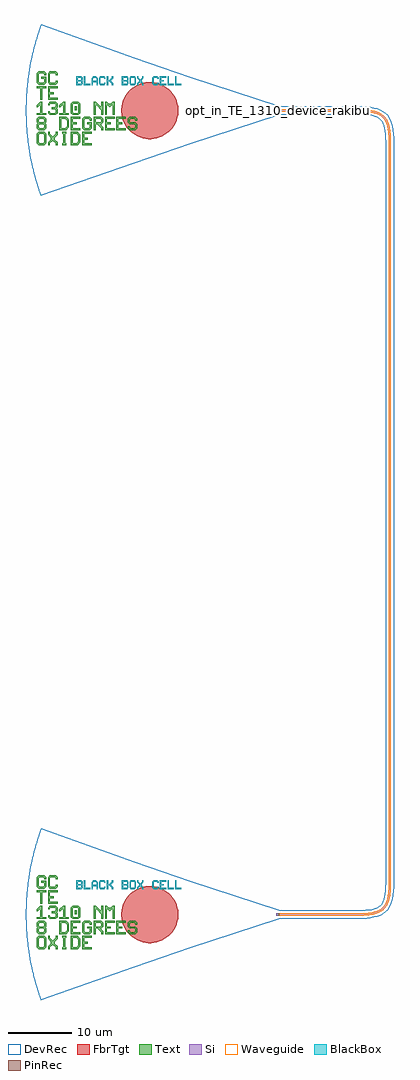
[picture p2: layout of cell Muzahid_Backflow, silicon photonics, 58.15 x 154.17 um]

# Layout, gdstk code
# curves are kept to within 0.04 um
import gdstk
lib = gdstk.Library(unit=1e-6, precision=1e-09)
def R(c, l, rs):  # rectangles x0, y0, x1, y1
    for r in rs: c.add(gdstk.rectangle(r[:2], r[2:], *l))
def P(c, l, *ps):  # polygons
    for p in ps: c.add(gdstk.Polygon(p, *l))
Si = (1, 0)
PinRec = (1, 10)
Waveguide = (1, 99)
Text = (10, 0)
DevRec = (68, 0)
FbrTgt = (81, 0)
BlackBox = (998, 0)

text = lib.new_cell('TEXT')
P(text, BlackBox, [(0,0),(0,1.4),(0.8,1.4),(1,1.2),(0.2,1.2),(0.2,0.8),(0.7,0.8),(0.8,0.9),(0.8,1.1),(0.7,1.2),(1,1.2),(1,0.8),(0.9,0.7),(1,0.6),(0.2,0.6),(0.2,0.2),(0.7,0.2),(0.8,0.3),(0.8,0.5),(0.7,0.6),(1,0.6),(1,0.2),(0.8,0)],
  [(1.2,0),(1.2,1.4),(1.4,1.4),(1.4,0.2),(2.2,0.2),(2.2,0)],
  [(2.4,0),(2.4,1.1),(2.7,1.4),(3.1,1.4),(3.3,1.2),(2.8,1.2),(2.6,1),(2.6,0.7),(3.2,0.7),(3.2,1),(3,1.2),(3.3,1.2),(3.4,1.1),(3.4,0),(3.2,0),(3.2,0.5),(2.6,0.5),(2.6,0)],
  [(3.8,0),(3.6,0.2),(3.6,1.2),(3.8,1.4),(4.4,1.4),(4.6,1.2),(4.6,1),(4.4,1),(4.4,1.1),(4.3,1.2),(3.9,1.2),(3.8,1.1),(3.8,0.3),(3.9,0.2),(4.3,0.2),(4.4,0.3),(4.4,0.4),(4.6,0.4),(4.6,0.2),(4.4,0)],
  [(4.8,0),(4.8,1.4),(5,1.4),(5,0.8),(5.2,0.8),(5.6,1.2),(5.6,1.4),(5.8,1.4),(5.8,1.1),(5.4,0.7),(5.8,0.3),(5.8,0),(5.6,0),(5.6,0.2),(5.2,0.6),(5,0.6),(5,0)],
  [(7.2,0),(7.2,1.4),(8,1.4),(8.2,1.2),(7.4,1.2),(7.4,0.8),(7.9,0.8),(8,0.9),(8,1.1),(7.9,1.2),(8.2,1.2),(8.2,0.8),(8.1,0.7),(8.2,0.6),(7.4,0.6),(7.4,0.2),(7.9,0.2),(8,0.3),(8,0.5),(7.9,0.6),(8.2,0.6),(8.2,0.2),(8,0)],
  [(8.6,0),(8.4,0.2),(8.4,1.2),(8.6,1.4),(9.2,1.4),(9.4,1.2),(9.4,0.7),(9.2,0.7),(9.2,1.1),(9.1,1.2),(8.7,1.2),(8.6,1.1),(8.6,0.3),(8.7,0.2),(9.1,0.2),(9.2,0.3),(9.2,0.7),(9.4,0.7),(9.4,0.2),(9.2,0)],
  [(9.6,0),(9.6,0.3),(9.9,0.6),(9.9,0.8),(9.6,1.1),(9.6,1.4),(9.8,1.4),(9.8,1.2),(10.1,0.9),(10.4,1.2),(10.4,1.4),(10.6,1.4),(10.6,1.1),(10.3,0.8),(10.3,0.6),(10.6,0.3),(10.6,0),(10.4,0),(10.4,0.2),(10.1,0.5),(9.8,0.2),(9.8,0)],
  [(12.2,0),(12,0.2),(12,1.2),(12.2,1.4),(12.8,1.4),(13,1.2),(13,1),(12.8,1),(12.8,1.1),(12.7,1.2),(12.3,1.2),(12.2,1.1),(12.2,0.3),(12.3,0.2),(12.7,0.2),(12.8,0.3),(12.8,0.4),(13,0.4),(13,0.2),(12.8,0)],
  [(13.2,0),(13.2,1.4),(14.2,1.4),(14.2,1.2),(13.4,1.2),(13.4,0.8),(13.8,0.8),(13.8,0.6),(13.4,0.6),(13.4,0.2),(14.2,0.2),(14.2,0)],
  [(14.4,0),(14.4,1.4),(14.6,1.4),(14.6,0.2),(15.4,0.2),(15.4,0)],
  [(15.6,0),(15.6,1.4),(15.8,1.4),(15.8,0.2),(16.6,0.2),(16.6,0)])

gc_te_1310_8degoxide_bb = lib.new_cell('GC_TE_1310_8degOxide_BB')
R(gc_te_1310_8degoxide_bb, Si, [(-0.4,-0.175,0,0.175)])
R(gc_te_1310_8degoxide_bb, Text, [(-32.27,0.06,-31.97,0.66)])
P(gc_te_1310_8degoxide_bb, Text, [(-37.67,1.71),(-37.67,3.51),(-38.27,3.51),(-38.27,3.81),(-36.77,3.81),(-36.77,3.51),(-37.37,3.51),(-37.37,1.71)],
  [(-37.97,-5.49),(-38.27,-5.19),(-38.27,-3.69),(-37.97,-3.39),(-37.07,-3.39),(-36.77,-3.69),(-36.77,-4.44),(-37.07,-4.44),(-37.07,-3.84),(-37.22,-3.69),(-37.82,-3.69),(-37.97,-3.84),(-37.97,-5.04),(-37.82,-5.19),(-37.22,-5.19),(-37.07,-5.04),(-37.07,-4.44),(-36.77,-4.44),(-36.77,-5.19),(-37.07,-5.49)],
  [(-31.07,-5.49),(-31.07,-3.39),(-29.57,-3.39),(-29.57,-3.69),(-30.77,-3.69),(-30.77,-4.29),(-30.17,-4.29),(-30.17,-4.59),(-30.77,-4.59),(-30.77,-5.19),(-29.57,-5.19),(-29.57,-5.49)],
  [(-32.87,-3.09),(-32.87,-0.99),(-31.37,-0.99),(-31.37,-1.29),(-32.57,-1.29),(-32.57,-1.89),(-31.97,-1.89),(-31.97,-2.19),(-32.57,-2.19),(-32.57,-2.79),(-31.37,-2.79),(-31.37,-3.09)],
  [(-27.47,-3.09),(-27.47,-0.99),(-25.97,-0.99),(-25.97,-1.29),(-27.17,-1.29),(-27.17,-1.89),(-26.57,-1.89),(-26.57,-2.19),(-27.17,-2.19),(-27.17,-2.79),(-25.97,-2.79),(-25.97,-3.09)],
  [(-25.67,-3.09),(-25.67,-0.99),(-24.17,-0.99),(-24.17,-1.29),(-25.37,-1.29),(-25.37,-1.89),(-24.77,-1.89),(-24.77,-2.19),(-25.37,-2.19),(-25.37,-2.79),(-24.17,-2.79),(-24.17,-3.09)],
  [(-36.47,1.71),(-36.47,3.81),(-34.97,3.81),(-34.97,3.51),(-36.17,3.51),(-36.17,2.91),(-35.57,2.91),(-35.57,2.61),(-36.17,2.61),(-36.17,2.01),(-34.97,2.01),(-34.97,1.71)],
  [(-27.47,-0.69),(-27.47,1.41),(-27.17,1.41),(-26.87,1.11),(-26.57,1.11),(-26.27,1.41),(-25.97,1.41),(-25.97,-0.69),(-26.27,-0.69),(-26.27,0.81),(-26.42,0.81),(-26.72,0.51),(-27.02,0.81),(-27.17,0.81),(-27.17,-0.69)],
  [(-29.27,-0.69),(-29.27,1.41),(-28.97,1.41),(-28.22,0.66),(-28.07,0.66),(-28.07,1.41),(-27.77,1.41),(-27.77,-0.69),(-28.07,-0.69),(-28.07,0.06),(-28.82,0.81),(-28.97,0.81),(-28.97,-0.69)],
  [(-34.22,-5.49),(-34.22,-5.19),(-34.07,-5.19),(-34.07,-3.69),(-34.22,-3.69),(-34.22,-3.39),(-33.62,-3.39),(-33.62,-3.69),(-33.77,-3.69),(-33.77,-5.19),(-33.62,-5.19),(-33.62,-5.49)],
  [(-36.17,-0.69),(-36.47,-0.39),(-36.47,-0.09),(-36.17,-0.09),(-36.17,-0.24),(-36.02,-0.39),(-35.42,-0.39),(-35.27,-0.24),(-35.27,0.06),(-35.42,0.21),(-35.87,0.21),(-35.87,0.51),(-35.42,0.51),(-35.27,0.66),(-35.27,0.96),(-35.42,1.11),(-36.02,1.11),(-36.17,0.96),(-36.17,0.81),(-36.47,0.81),(-36.47,1.11),(-36.17,1.41),(-35.27,1.41),(-34.97,1.11),(-34.97,0.51),(-35.12,0.36),(-34.97,0.21),(-34.97,-0.39),(-35.27,-0.69)],
  [(-29.27,-3.09),(-29.27,-0.99),(-28.07,-0.99),(-27.77,-1.29),(-28.97,-1.29),(-28.97,-1.89),(-28.22,-1.89),(-28.07,-1.74),(-28.07,-1.44),(-28.22,-1.29),(-27.77,-1.29),(-27.77,-1.89),(-28.07,-2.19),(-28.07,-2.34),(-27.77,-2.64),(-27.77,-3.09),(-28.07,-3.09),(-28.07,-2.79),(-28.67,-2.19),(-28.97,-2.19),(-28.97,-3.09)],
  [(-30.77,-3.09),(-31.07,-2.79),(-31.07,-1.29),(-30.77,-0.99),(-29.87,-0.99),(-29.57,-1.29),(-29.57,-1.59),(-29.87,-1.59),(-29.87,-1.44),(-30.02,-1.29),(-30.62,-1.29),(-30.77,-1.44),(-30.77,-2.64),(-30.62,-2.79),(-30.02,-2.79),(-29.87,-2.64),(-29.87,-2.19),(-30.32,-2.19),(-30.32,-1.89),(-29.57,-1.89),(-29.57,-2.79),(-29.87,-3.09)],
  [(-37.97,4.11),(-38.27,4.41),(-38.27,5.91),(-37.97,6.21),(-37.07,6.21),(-36.77,5.91),(-36.77,5.61),(-37.07,5.61),(-37.07,5.76),(-37.22,5.91),(-37.82,5.91),(-37.97,5.76),(-37.97,4.56),(-37.82,4.41),(-37.22,4.41),(-37.07,4.56),(-37.07,5.01),(-37.52,5.01),(-37.52,5.31),(-36.77,5.31),(-36.77,4.41),(-37.07,4.11)],
  [(-32.57,-0.69),(-32.87,-0.39),(-32.87,1.11),(-32.57,1.41),(-31.67,1.41),(-31.37,1.11),(-32.42,1.11),(-32.57,0.96),(-32.57,-0.24),(-32.42,-0.39),(-31.82,-0.39),(-31.67,-0.24),(-31.67,0.96),(-31.82,1.11),(-31.37,1.11),(-31.37,-0.39),(-31.67,-0.69)],
  [(-32.87,-5.49),(-32.87,-3.39),(-31.82,-3.39),(-31.52,-3.69),(-32.57,-3.69),(-32.57,-5.19),(-31.97,-5.19),(-31.67,-4.89),(-31.67,-3.99),(-31.97,-3.69),(-31.52,-3.69),(-31.37,-3.84),(-31.37,-5.04),(-31.82,-5.49)],
  [(-34.67,-3.09),(-34.67,-0.99),(-33.62,-0.99),(-33.32,-1.29),(-34.37,-1.29),(-34.37,-2.79),(-33.77,-2.79),(-33.47,-2.49),(-33.47,-1.59),(-33.77,-1.29),(-33.32,-1.29),(-33.17,-1.44),(-33.17,-2.64),(-33.62,-3.09)],
  [(-23.57,-3.09),(-23.87,-2.79),(-23.87,-2.49),(-23.57,-2.49),(-23.57,-2.64),(-23.42,-2.79),(-22.82,-2.79),(-22.67,-2.64),(-22.67,-2.34),(-22.82,-2.19),(-23.57,-2.19),(-23.87,-1.89),(-23.87,-1.29),(-23.57,-0.99),(-22.67,-0.99),(-22.37,-1.29),(-22.37,-1.59),(-22.67,-1.59),(-22.67,-1.44),(-22.82,-1.29),(-23.42,-1.29),(-23.57,-1.44),(-23.57,-1.74),(-23.42,-1.89),(-22.67,-1.89),(-22.37,-2.19),(-22.37,-2.79),(-22.67,-3.09)],
  [(-37.97,-3.09),(-38.27,-2.79),(-38.27,-2.19),(-38.12,-2.04),(-38.27,-1.89),(-38.27,-1.29),(-37.97,-0.99),(-37.07,-0.99),(-36.77,-1.29),(-37.82,-1.29),(-37.97,-1.44),(-37.97,-1.74),(-37.82,-1.89),(-37.22,-1.89),(-37.07,-1.74),(-37.07,-1.44),(-37.22,-1.29),(-36.77,-1.29),(-36.77,-1.89),(-36.92,-2.04),(-36.77,-2.19),(-37.82,-2.19),(-37.97,-2.34),(-37.97,-2.64),(-37.82,-2.79),(-37.22,-2.79),(-37.07,-2.64),(-37.07,-2.34),(-37.22,-2.19),(-36.77,-2.19),(-36.77,-2.79),(-37.07,-3.09)],
  [(-38.27,-0.69),(-38.27,-0.39),(-37.67,-0.39),(-37.67,0.81),(-37.82,0.81),(-38.12,0.51),(-38.27,0.51),(-38.27,0.81),(-37.67,1.41),(-37.37,1.41),(-37.37,-0.39),(-36.77,-0.39),(-36.77,-0.69)],
  [(-34.67,-0.69),(-34.67,-0.39),(-34.07,-0.39),(-34.07,0.81),(-34.22,0.81),(-34.52,0.51),(-34.67,0.51),(-34.67,0.81),(-34.07,1.41),(-33.77,1.41),(-33.77,-0.39),(-33.17,-0.39),(-33.17,-0.69)],
  [(-36.47,-5.49),(-36.47,-5.04),(-36.02,-4.59),(-36.02,-4.29),(-36.47,-3.84),(-36.47,-3.39),(-36.17,-3.39),(-36.17,-3.69),(-35.72,-4.14),(-35.27,-3.69),(-35.27,-3.39),(-34.97,-3.39),(-34.97,-3.84),(-35.42,-4.29),(-35.42,-4.59),(-34.97,-5.04),(-34.97,-5.49),(-35.27,-5.49),(-35.27,-5.19),(-35.72,-4.74),(-36.17,-5.19),(-36.17,-5.49)],
  [(-36.17,4.11),(-36.47,4.41),(-36.47,5.91),(-36.17,6.21),(-35.27,6.21),(-34.97,5.91),(-34.97,5.61),(-35.27,5.61),(-35.27,5.76),(-35.42,5.91),(-36.02,5.91),(-36.17,5.76),(-36.17,4.56),(-36.02,4.41),(-35.42,4.41),(-35.27,4.56),(-35.27,4.71),(-34.97,4.71),(-34.97,4.41),(-35.27,4.11)])
P(gc_te_1310_8degoxide_bb, DevRec, [(-37.607,-13.5),(-38.627,-10.245),(-39.378,-6.832),(-39.647,-5.058),(-39.835,-3.274),(-39.969,0.224),(-39.812,3.541),(-39.331,7.097),(-38.557,10.505),(-37.546,13.669),(-22.8,8.353),(-14.109,5.36),(0,0.75),(0,-0.75),(-14.109,-5.36)])
P(gc_te_1310_8degoxide_bb, FbrTgt, [(-20.621,-4.5),(-21.495,-4.37),(-22.326,-4.073),(-23.084,-3.619),(-23.738,-3.026),(-24.264,-2.316),(-24.642,-1.518),(-24.857,-0.661),(-24.9,0.221),(-24.77,1.095),(-24.473,1.926),(-24.019,2.684),(-23.426,3.338),(-22.716,3.864),(-21.918,4.242),(-21.061,4.457),(-20.179,4.5),(-19.305,4.37),(-18.474,4.073),(-17.716,3.619),(-17.062,3.026),(-16.536,2.316),(-16.158,1.518),(-15.943,0.661),(-15.9,-0.221),(-16.03,-1.095),(-16.327,-1.926),(-16.781,-2.684),(-17.374,-3.338),(-18.084,-3.864),(-18.882,-4.242),(-19.739,-4.457)])
gc_te_1310_8degoxide_bb.add(gdstk.FlexPath([(-0.01,0),(0.01,0)], 0.35, ends="flush", simple_path=True, layer=1, datatype=10))  # PinRec
gc_te_1310_8degoxide_bb.add(gdstk.Reference(text, (-32,4)))
gc_te_1310_8degoxide_bb.add(gdstk.Label('opt1', (0,0), layer=1, texttype=10))
gc_te_1310_8degoxide_bb.add(gdstk.Label('Lumerical_INTERCONNECT_library=Design kits/ebeam', (-29,-7), layer=68, texttype=0))
gc_te_1310_8degoxide_bb.add(gdstk.Label('Component=GC_TE_1310_8degOxide_BB', (-28,-5), layer=68, texttype=0))

waveguide_9 = lib.new_cell('Waveguide$9')
P(waveguide_9, Si, [(-250.27,52.865),(-250.27,53.215),(-237.542,53.217),(-236.367,53.269),(-235.402,53.413),(-234.87,53.565),(-234.42,53.765),(-234.045,54.017),(-233.736,54.326),(-233.484,54.701),(-233.284,55.151),(-233.132,55.683),(-233.006,56.473),(-232.935,58.04),(-232.935,175.04),(-233.049,176.941),(-233.33,178.05),(-233.604,178.575),(-233.884,178.916),(-234.226,179.197),(-234.636,179.422),(-235.703,179.727),(-236.549,179.826),(-237.543,179.864),(-250.27,179.865),(-250.27,180.215),(-237.539,180.214),(-236.155,180.142),(-235.176,179.974),(-234.494,179.742),(-233.925,179.413),(-233.467,178.977),(-233.117,178.43),(-232.827,177.625),(-232.679,176.822),(-232.595,175.686),(-232.585,58.04),(-232.658,56.435),(-232.79,55.607),(-232.954,55.033),(-233.178,54.533),(-233.466,54.104),(-233.823,53.747),(-234.252,53.459),(-234.752,53.235),(-235.482,53.039),(-236.522,52.905),(-237.538,52.867)])
P(waveguide_9, Waveguide, [(-250.27,52.865),(-250.27,53.215),(-237.542,53.217),(-236.367,53.269),(-235.402,53.413),(-234.87,53.565),(-234.42,53.765),(-234.045,54.017),(-233.736,54.326),(-233.484,54.701),(-233.284,55.151),(-233.132,55.683),(-233.006,56.473),(-232.935,58.04),(-232.935,175.04),(-233.049,176.941),(-233.33,178.05),(-233.604,178.575),(-233.884,178.916),(-234.226,179.197),(-234.636,179.422),(-235.703,179.727),(-236.549,179.826),(-237.543,179.864),(-250.27,179.865),(-250.27,180.215),(-237.539,180.214),(-236.155,180.142),(-235.176,179.974),(-234.494,179.742),(-233.925,179.413),(-233.467,178.977),(-233.117,178.43),(-232.827,177.625),(-232.679,176.822),(-232.595,175.686),(-232.585,58.04),(-232.658,56.435),(-232.79,55.607),(-232.954,55.033),(-233.178,54.533),(-233.466,54.104),(-233.823,53.747),(-234.252,53.459),(-234.752,53.235),(-235.482,53.039),(-236.522,52.905),(-237.538,52.867)])
P(waveguide_9, DevRec, [(-250.27,52.365),(-250.27,53.715),(-237.761,53.715),(-236.523,53.758),(-235.551,53.893),(-234.833,54.118),(-234.335,54.426),(-234.145,54.616),(-233.837,55.114),(-233.714,55.442),(-233.533,56.285),(-233.435,58.04),(-233.435,175.04),(-233.534,176.796),(-233.715,177.639),(-233.838,177.967),(-234.146,178.465),(-234.336,178.655),(-234.834,178.963),(-236.005,179.267),(-237.761,179.365),(-250.27,179.365),(-250.27,180.715),(-237.759,180.715),(-235.819,180.605),(-234.756,180.374),(-234.282,180.195),(-233.46,179.681),(-233.12,179.341),(-232.836,178.952),(-232.427,178.045),(-232.196,176.982),(-232.096,175.74),(-232.085,58.04),(-232.195,56.099),(-232.426,55.036),(-232.605,54.562),(-233.119,53.74),(-233.848,53.116),(-234.281,52.886),(-235.265,52.573),(-236.415,52.412),(-237.759,52.365)])
waveguide_9.add(gdstk.FlexPath([(-250.26,180.04),(-250.28,180.04)], 0.35, ends="flush", simple_path=True, layer=1, datatype=10))  # PinRec
waveguide_9.add(gdstk.FlexPath([(-250.26,53.04),(-250.28,53.04)], 0.35, ends="flush", simple_path=True, layer=1, datatype=10))  # PinRec
waveguide_9.add(gdstk.Label('opt1', (-250.27,180.04), layer=1, texttype=10))
waveguide_9.add(gdstk.Label('opt2', (-250.27,53.04), layer=1, texttype=10))
waveguide_9.add(gdstk.Label('Lumerical_INTERCONNECT_library=Design kits/EBeam', (-250.27,179.97), layer=68, texttype=0))
waveguide_9.add(gdstk.Label('Component=ebeam_wg_integral_1310', (-250.27,180.11), layer=68, texttype=0))
waveguide_9.add(gdstk.Label('cellName=Waveguide', (-250.27,180.18), layer=68, texttype=0))
waveguide_9.add(gdstk.Label('Spice_param:wg_length=0.000158927 wg_width=3.5e-07 points="[[-250.27,180.04],[-232.76,180.04],[-232.76,53.04],[-250.27,53.04]]" radius=5e-06', (-250.27,180.04), layer=68, texttype=0))
waveguide_9.add(gdstk.Label('Length=158.927 (microns)', (-250.27,179.62), layer=68, texttype=0))
waveguide_9.add(gdstk.Label('waveguide_type=Strip TE 1310 nm, w=350 nm', (-250.27,179.9), layer=68, texttype=0))

muzahid_backflow = lib.new_cell('Muzahid_Backflow')
r = gdstk.Reference(gc_te_1310_8degoxide_bb, (39.969,13.5)); r.repetition = gdstk.Repetition(1, 2, v1=(0,0), v2=(0,127)); muzahid_backflow.add(r)
muzahid_backflow.add(gdstk.Reference(waveguide_9, (290.239,-39.54)))
muzahid_backflow.add(gdstk.Label('opt_in_TE_1310_device_rakibul_backflow', (39.969,140.5), layer=10, texttype=0))

lib.write_gds('Muzahid_Backflow.gds')
